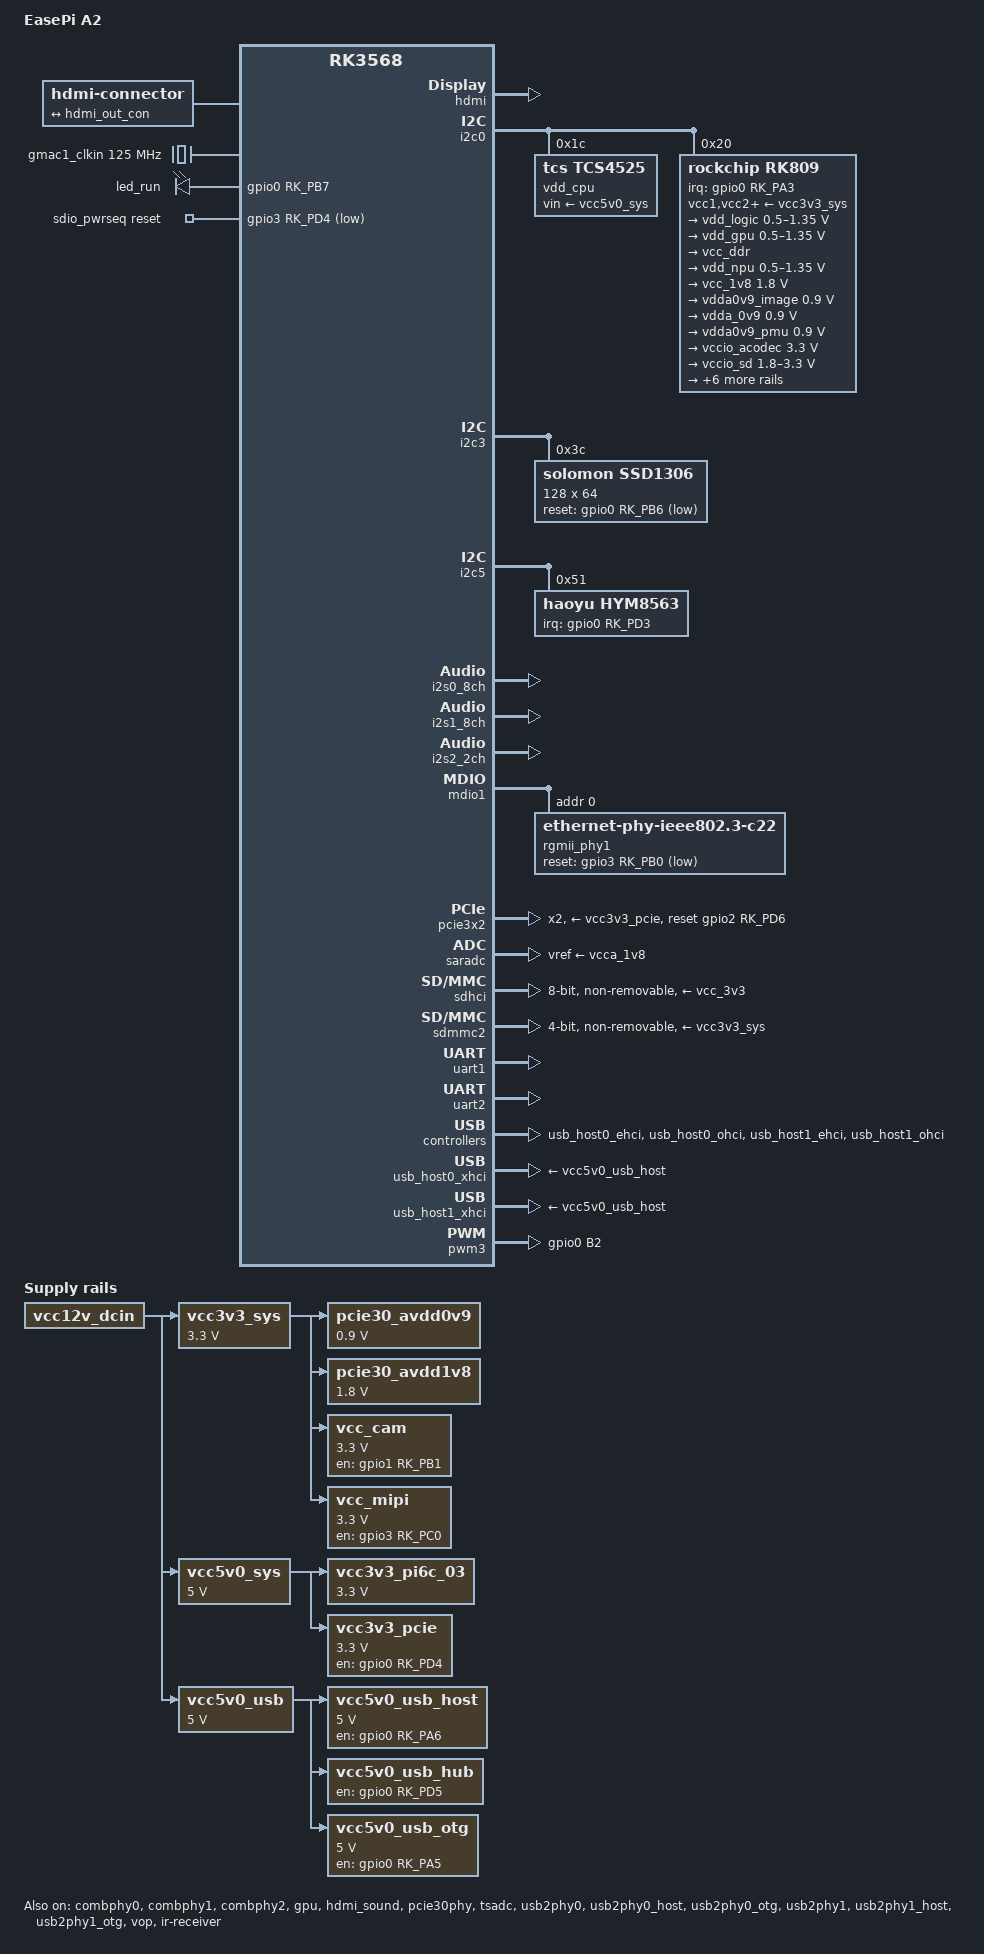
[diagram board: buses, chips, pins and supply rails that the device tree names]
// SPDX-License-Identifier: (GPL-2.0+ OR MIT)
/dts-v1/;
#include <dt-bindings/gpio/gpio.h>
#include <dt-bindings/leds/common.h>
#include <dt-bindings/pinctrl/rockchip.h>
#include <dt-bindings/soc/rockchip,vop2.h>
#include <dt-bindings/input/input.h>
#include <dt-bindings/pwm/pwm.h>
#include "rk3568.dtsi"

/ {
	model = "EasePi A2";
	compatible = "easepi,a2", "rockchip,rk3568";

	aliases {
		ethernet0 = &gmac1;
		mmc0 = &sdhci;
		mmc1 = &sdmmc0;
		mmc2 = &sdmmc2;
	};

	chosen: chosen {
		stdout-path = "serial2:1500000n8";
	};

	hdmi-con {
		compatible = "hdmi-connector";
		type = "a";
		port {
			hdmi_con_in: endpoint {
				remote-endpoint = <&hdmi_out_con>;
			};
		};
	};

	gmac1_clkin: external-gmac1-clock {
		compatible = "fixed-clock";
		clock-frequency = <125000000>;
		clock-output-names = "gmac1_clkin";
		#clock-cells = <0>;
	};

	leds {
		compatible = "gpio-leds";
		led_run: led-0 {
		gpios = <&gpio0 RK_PB7 GPIO_ACTIVE_HIGH>;
		function = "heartbeat";
		color = <1>;
		linux,default-trigger = "heartbeat";
		pinctrl-names = "default";
		pinctrl-0 = <&led_run_en>;
	};
	};

	/* IR receiver: GPIO0_18, NEC protocol, PWM3 */
	ir-receiver {
		compatible = "rockchip,remotectl-pwm";
		reg = <0x00 0xfdd70030 0x00 0x10>;
		interrupts = <0x00 0x52 0x04>, <0x00 0x56 0x04>;
		clocks = <&cru>, <&cru>;
		clock-names = "pwm", "pclk";
		pinctrl-0 = <&ir_receiver_pin>;
		pinctrl-names = "default";
		remote_pwm_id = <0x03>;
		handle_cpu_id = <0x01>;
		remote_support_psci = <0x00>;
		status = "okay";

		/* Remote group 1 (usercode: 0xff00) */
		ir_key1 {
			rockchip,usercode = <0xff00>;
			rockchip,key_table = <0xf9 0x66 0xbf 0x9e 0xfb 0x8b 0xaa 0x1c 0xb9 0x67 0xe9 0x6c 0xb8 0x69 0xea 0x6a 0xeb 0x72 0xef 0x73 0xf7 0x71 0xe7 0x74 0xfc 0x74 0xa9 0x72 0xa8 0xa4 0xe0 0x72 0xa5 0x72 0xab 0xb7 0xb7 0x184 0xe8 0x184 0xf8 0xb8 0xaf 0xb9 0xed 0x72 0xee 0xba 0xb3 0x72 0xf1 0x72 0xf2 0x72 0xf3 0xd9 0xb4 0x72 0xa4 0x8d 0xbe 0xd9>;
		};

		/* Remote group 2 (usercode: 0xc43b) */
		ir_key2 {
			rockchip,usercode = <0xc43b>;
			rockchip,key_table = <0x7e 0x1c 0x7f 0x9e 0x7a 0x67 0x78 0x6c 0x7b 0x69 0x79 0x6a 0x66 0x73 0x65 0x72 0x69 0x74 0x64 0x71 0x76 0x02 0x75 0x03 0x74 0x04 0x73 0x05 0x72 0x06 0x71 0x07 0x70 0x08 0x6f 0x09 0x6e 0x0a 0x77 0x0b 0x7c 0x6d 0x7d 0x68 0x6a 0x8d 0x68 0xf9 0x67 0xfa 0x39 0x10f 0x29 0xfb 0x33 0xfc 0x34 0x104 0x2d 0xfe 0x2c 0xff 0x2b 0x100 0x2e 0xfd 0x2d 0xfe 0x2c 0xff 0x2b 0x100 0x63 0x101 0x6c 0x102 0x6d 0x103 0x62 0xa4 0x6b 0x0d 0x61 0xd0 0x60 0xa8 0x3b 0x80 0x35 0x191 0x36 0x190 0x37 0x18f 0x38 0x18e>;
		};

		/* Remote group 3 (usercode: 0x1dcc) */
		ir_key3 {
			rockchip,usercode = <0x1dcc>;
			rockchip,key_table = <0xee 0x1c 0xf0 0x9e 0xf8 0x67 0xbb 0x6c 0xef 0x69 0xed 0x6a 0xfc 0x66 0xf1 0x73 0xfd 0x72 0xb7 0xd9 0xff 0x74 0xf3 0x71 0xbf 0x8b 0xf9 0x191 0xf5 0x192 0xb3 0x184 0xbe 0x02 0xba 0x03 0xb2 0x04 0xbd 0x05 0xf9 0x06 0xb1 0x07 0xfc 0x08 0xf8 0x09 0xb0 0x0a 0xb6 0x0b 0xb5 0x0e>;
		};

		/* Remote group 4 (usercode: 0x4db2) */
		ir_key4 {
			rockchip,usercode = <0x4db2>;
			rockchip,key_table = <0x31 0x1c 0x3a 0x9e 0x35 0x67 0x2d 0x6c 0x66 0x69 0x3e 0x6a 0x7f 0x73 0xfe 0x72 0x23 0x74 0x63 0x71 0x6d 0x02 0x6c 0x03 0x33 0x04 0x71 0x05 0x70 0x06 0x37 0x07 0x75 0x08 0x74 0x09 0x3b 0x0a 0x78 0x0b 0x73 0x6d 0x22 0x68 0x72 0x8d 0x7a 0xf9 0x79 0xfa 0x77 0xfb 0x29 0xfc 0x32 0xfd 0x6e 0xfe 0x7c 0xff 0x3c 0x100 0x67 0x101 0x25 0x102 0x2f 0x103 0x7d 0x104 0x6a 0xa4 0x0b 0x0d>;
		};

		/* Remote group 5 (usercode: 0x1608) */
		ir_key5 {
			rockchip,usercode = <0x1608>;
			rockchip,key_table = <0x4c 0x1c 0x4d 0x9e 0x4b 0x67 0x4a 0x6c 0x49 0x69 0x48 0x6a 0x4e 0x66 0x0b 0x73 0x0c 0x72 0x23 0x74 0x45 0x71 0x44 0x8b 0x78 0x02 0x77 0x03 0x76 0x04 0x75 0x05 0x74 0x06 0x73 0x07 0x72 0x08 0x71 0x09 0x70 0x0a 0x79 0x0b 0x43 0x0d 0x72 0x102 0x5f 0x8d 0x25 0xfd 0x24 0xfe 0x21 0xff 0x20 0x100>;
		};

		/* Remote group 6 (usercode: 0xfe01) */
		ir_key6 {
			rockchip,usercode = <0xfe01>;
			rockchip,key_table = <0xec 0x1c 0xe6 0x9e 0xe9 0x67 0xe5 0x6c 0xae 0x69 0xaf 0x6a 0xee 0x66 0xe7 0x73 0xef 0x72 0xbf 0x74 0xbe 0x71 0xb3 0x8b 0xff 0x184 0xb1 0x02 0xf2 0x03 0xf3 0x04 0xb5 0x05 0xf6 0x06 0xf7 0x07 0xb9 0x08 0xfa 0x09 0xfb 0x0a 0xfe 0x0b 0xbd 0x0d 0xbc 0x8d 0xf0 0x104 0x0d 0xfd 0x0c 0xfe 0x0b 0xff 0x0a 0x100 0x0e 0xfc>;
		};

		/* Remote group 7 (usercode: 0x4cb3) */
		ir_key7 {
			rockchip,usercode = <0x4cb3>;
			rockchip,key_table = <0x31 0x1c 0x3a 0x9e 0x35 0x67 0x2d 0x6c 0x66 0x69 0x3e 0x6a 0x7f 0x73 0x7e 0x72 0x23 0x74 0x63 0x71 0x6d 0x02 0x6c 0x03 0x33 0x04 0x71 0x05 0x70 0x06 0x37 0x07 0x75 0x08 0x74 0x09 0x3b 0x0a 0x78 0x0b 0x73 0x6d 0x22 0x68 0x72 0x8d 0x7a 0xf9 0x79 0xfa 0x77 0xfb 0x29 0xfc 0x32 0xfd 0x6e 0xfe 0x7c 0xff 0x3c 0x100 0x67 0x101 0x25 0x102 0x2f 0x103 0x7d 0x104 0x6a 0xa4 0x0b 0x0d>;
		};

		/* Remote group 8 (usercode: 0xdd22) */
		ir_key8 {
			rockchip,usercode = <0xdd22>;
			rockchip,key_table = <0x31 0x1c 0x6a 0x9e 0x35 0x67 0x2d 0x6c 0x66 0x69 0x3e 0x6a 0x7f 0x73 0x7e 0x72 0x23 0x74 0x63 0x71 0x6d 0x02 0x6c 0x03 0x33 0x04 0x71 0x05 0x70 0x06 0x37 0x07 0x75 0x08 0x74 0x09 0x3b 0x0a 0x78 0x0b 0x73 0x6d 0x22 0x68 0x72 0x8d 0x7a 0xf9 0x79 0xfa 0x77 0xfb 0x2f 0xfc 0x32 0xfd 0x6e 0xfe 0x7c 0xff 0x3c 0x100 0x3a 0x8a 0x67 0x101 0x25 0x103 0x7d 0x8b 0x3f 0x0d 0x29 0x184 0x26 0xa4 0x76 0x191 0x7b 0x190 0x69 0x42>;
		};

		/* Remote group 9 (usercode: 0x3bc4) */
		ir_key9 {
			rockchip,usercode = <0x3bc4>;
			rockchip,key_table = <0x81 0x1c 0x80 0x9e 0x85 0x67 0x87 0x6c 0x84 0x69 0x86 0x6a 0x99 0x73 0x9a 0x72 0x96 0x74 0x9b 0x71 0x89 0x02 0x8a 0x03 0x8b 0x04 0x8c 0x05 0x8d 0x06 0x8e 0x07 0x8f 0x08 0x90 0x09 0x91 0x0a 0x88 0x0b 0x83 0x6d 0x82 0x68 0x95 0x8d 0x97 0xf9 0x98 0xfa 0xc6 0x104 0xd6 0xfb 0xd7 0x10e 0xcc 0xfc 0xc3 0x108 0xd1 0xfd 0xd2 0xfe 0xd3 0xff 0xd4 0x100 0xc7 0xfd 0xc8 0xfe 0xc9 0xff 0xca 0x100 0xcd 0x109 0xce 0x10a 0xcf 0x8a 0xd0 0x10b 0x9c 0x101 0x93 0x102 0x92 0x103 0xc0 0x6b 0xc1 0x107 0x9d 0xa4 0xc4 0x80 0x94 0x0d 0x9e 0x190 0x9f 0x191 0xcb 0x105 0xc5 0x106>;
		};
	};

	/* GPIO-controlled fan interface */
	fan: fan {
		status = "disabled";
	};

	rk809-sound {
		compatible = "simple-audio-card";
		simple-audio-card,format = "i2s";
		simple-audio-card,name = "Analog RK809";
		simple-audio-card,mclk-fs = <256>;
		simple-audio-card,cpu {
			sound-dai = <&i2s1_8ch>;
		};
		simple-audio-card,codec {
			sound-dai = <&rk809>;
		};
	};

	sdio_pwrseq: sdio-pwrseq {
		compatible = "mmc-pwrseq-simple";
		clocks = <&rk809 1>;
		clock-names = "ext_clock";
		pinctrl-names = "default";
		pinctrl-0 = <&wifi_enable>;
		post-power-on-delay-ms = <100>;
		power-off-delay-us = <5000000>;
		reset-gpios = <&gpio3 RK_PD4 GPIO_ACTIVE_LOW>;
	};

	/* Power regulators configuration */
	vcc12v_dcin: regulator-vcc12v-dcin {
		compatible = "regulator-fixed";
		regulator-name = "vcc12v_dcin";
		regulator-always-on;
		regulator-boot-on;
	};

	pcie30_avdd0v9: regulator-pcie30-avdd0v9 {
		compatible = "regulator-fixed";
		regulator-name = "pcie30_avdd0v9";
		regulator-always-on;
		regulator-boot-on;
		regulator-min-microvolt = <900000>;
		regulator-max-microvolt = <900000>;
		vin-supply = <&vcc3v3_sys>;
	};

	pcie30_avdd1v8: regulator-pcie30-avdd1v8 {
		compatible = "regulator-fixed";
		regulator-name = "pcie30_avdd1v8";
		regulator-always-on;
		regulator-boot-on;
		regulator-min-microvolt = <1800000>;
		regulator-max-microvolt = <1800000>;
		vin-supply = <&vcc3v3_sys>;
	};

	vcc3v3_pi6c_03: regulator-vcc3v3-pi6c-03 {
		compatible = "regulator-fixed";
		regulator-name = "vcc3v3_pi6c_03";
		regulator-always-on;
		regulator-boot-on;
		regulator-min-microvolt = <3300000>;
		regulator-max-microvolt = <3300000>;
		vin-supply = <&vcc5v0_sys>;
	};

	vcc3v3_pcie: regulator-vcc3v3-pcie {
		compatible = "regulator-fixed";
		enable-active-high;
		gpios = <&gpio0 RK_PD4 GPIO_ACTIVE_HIGH>;
		pinctrl-names = "default";
		pinctrl-0 = <&pcie_enable_h>;
		regulator-name = "vcc3v3_pcie";
		regulator-min-microvolt = <3300000>;
		regulator-max-microvolt = <3300000>;
		vin-supply = <&vcc5v0_sys>;
	};

	vcc3v3_sys: regulator-vcc3v3-sys {
		compatible = "regulator-fixed";
		regulator-name = "vcc3v3_sys";
		regulator-always-on;
		regulator-boot-on;
		regulator-min-microvolt = <3300000>;
		regulator-max-microvolt = <3300000>;
		vin-supply = <&vcc12v_dcin>;
	};

	vcc5v0_sys: regulator-vcc5v0-sys {
		compatible = "regulator-fixed";
		regulator-name = "vcc5v0_sys";
		regulator-always-on;
		regulator-boot-on;
		regulator-min-microvolt = <5000000>;
		regulator-max-microvolt = <5000000>;
		vin-supply = <&vcc12v_dcin>;
	};

	vcc5v0_usb: regulator-vcc5v0-usb {
		compatible = "regulator-fixed";
		regulator-name = "vcc5v0_usb";
		regulator-always-on;
		regulator-boot-on;
		regulator-min-microvolt = <5000000>;
		regulator-max-microvolt = <5000000>;
		vin-supply = <&vcc12v_dcin>;
	};

	vcc5v0_usb_host: regulator-vcc5v0-usb-host {
		compatible = "regulator-fixed";
		enable-active-high;
		gpio = <&gpio0 RK_PA6 GPIO_ACTIVE_HIGH>;
		pinctrl-names = "default";
		pinctrl-0 = <&vcc5v0_usb_host_en>;
		regulator-name = "vcc5v0_usb_host";
		regulator-min-microvolt = <5000000>;
		regulator-max-microvolt = <5000000>;
		vin-supply = <&vcc5v0_usb>;
	};

	vcc5v0_usb_hub: regulator-vcc5v0-usb-hub {
		compatible = "regulator-fixed";
		enable-active-high;
		gpio = <&gpio0 RK_PD5 GPIO_ACTIVE_HIGH>;
		pinctrl-names = "default";
		pinctrl-0 = <&vcc5v0_usb_hub_en>;
		regulator-name = "vcc5v0_usb_hub";
		regulator-always-on;
		vin-supply = <&vcc5v0_usb>;
	};

	vcc5v0_usb_otg: regulator-vcc5v0-usb-otg {
		compatible = "regulator-fixed";
		enable-active-high;
		gpio = <&gpio0 RK_PA5 GPIO_ACTIVE_HIGH>;
		pinctrl-names = "default";
		pinctrl-0 = <&vcc5v0_usb_otg_en>;
		regulator-name = "vcc5v0_usb_otg";
		regulator-min-microvolt = <5000000>;
		regulator-max-microvolt = <5000000>;
		vin-supply = <&vcc5v0_usb>;
	};

	vcc_cam: regulator-vcc-cam {
		compatible = "regulator-fixed";
		enable-active-high;
		gpio = <&gpio1 RK_PB1 GPIO_ACTIVE_HIGH>;
		pinctrl-names = "default";
		pinctrl-0 = <&vcc_cam_en>;
		regulator-name = "vcc_cam";
		regulator-min-microvolt = <3300000>;
		regulator-max-microvolt = <3300000>;
		vin-supply = <&vcc3v3_sys>;
		regulator-state-mem {
			regulator-off-in-suspend;
		};
	};

	vcc_mipi: regulator-vcc-mipi {
		compatible = "regulator-fixed";
		enable-active-high;
		gpio = <&gpio3 RK_PC0 GPIO_ACTIVE_HIGH>;
		pinctrl-names = "default";
		pinctrl-0 = <&vcc_mipi_en>;
		regulator-name = "vcc_mipi";
		regulator-min-microvolt = <3300000>;
		regulator-max-microvolt = <3300000>;
		vin-supply = <&vcc3v3_sys>;
		regulator-state-mem {
			regulator-off-in-suspend;
		};
	};
};

&combphy0 {
	status = "okay";
};

&combphy1 {
	status = "okay";
};

&combphy2 {
	status = "okay";
};

&cpu0 {
	cpu-supply = <&vdd_cpu>;
};

&cpu1 {
	cpu-supply = <&vdd_cpu>;
};

&cpu2 {
	cpu-supply = <&vdd_cpu>;
};

&cpu3 {
	cpu-supply = <&vdd_cpu>;
};

&gmac1 {
	assigned-clocks = <&cru SCLK_GMAC1_RX_TX>, <&cru SCLK_GMAC1>;
	assigned-clock-parents = <&cru SCLK_GMAC1_RGMII_SPEED>, <&gmac1_clkin>;
	clock_in_out = "input";
	phy-handle = <&rgmii_phy1>;
	phy-mode = "rgmii-id";
	phy-supply = <&vcc_3v3>;
	pinctrl-names = "default";
	pinctrl-0 = <&gmac1m1_miim
		     &gmac1m1_tx_bus2
		     &gmac1m1_rx_bus2
		     &gmac1m1_rgmii_clk
		     &gmac1m1_clkinout
		     &gmac1m1_rgmii_bus>;
	status = "disabled";
};

&gpu {
	mali-supply = <&vdd_gpu>;
	status = "okay";
};

&hdmi {
	avdd-0v9-supply = <&vdda0v9_image>;
	avdd-1v8-supply = <&vcca1v8_image>;
	pinctrl-names = "default";
	pinctrl-0 = <&hdmitx_scl &hdmitx_sda &hdmitxm1_cec>;
	rockchip,hdmi-max-clock = <340000000>; // Support 4K@30Hz
	rockchip,hdmi-output-mode = "1080p60";
	rockchip,hdmi-hpd-gpio = <&gpio3 RK_PB7 GPIO_ACTIVE_HIGH>;
	status = "okay";
};

&hdmi_in {
	hdmi_in_vp0: endpoint {
		remote-endpoint = <&vp0_out_hdmi>;
	};
};

&hdmi_out {
	hdmi_out_con: endpoint {
		remote-endpoint = <&hdmi_con_in>;
	};
};

&hdmi_sound {
	status = "okay";
};

&i2c0 {
	status = "okay";

	vdd_cpu: regulator@1c {
		compatible = "tcs,tcs4525";
		reg = <0x1c>;
		tcs,suspend-voltage-selector = <1>;
		regulator-name = "vdd_cpu";
		regulator-always-on;
		regulator-boot-on;
		regulator-min-microvolt = <800000>;
		regulator-max-microvolt = <1150000>;
		regulator-ramp-delay = <2300>;
		vin-supply = <&vcc5v0_sys>;
		regulator-state-mem {
			regulator-off-in-suspend;
		};
	};

	rk809: pmic@20 {
		compatible = "rockchip,rk809";
		reg = <0x20>;
		interrupt-parent = <&gpio0>;
		interrupts = <RK_PA3 IRQ_TYPE_LEVEL_LOW>;
		assigned-clocks = <&cru I2S1_MCLKOUT_TX>;
		assigned-clock-parents = <&cru CLK_I2S1_8CH_TX>;
		#clock-cells = <1>;
		clock-names = "mclk";
		clocks = <&cru I2S1_MCLKOUT_TX>;
		pinctrl-names = "default";
		pinctrl-0 = <&pmic_int>, <&i2s1m0_mclk>;
		system-power-controller;
		#sound-dai-cells = <0>;
		vcc1-supply = <&vcc3v3_sys>;
		vcc2-supply = <&vcc3v3_sys>;
		vcc3-supply = <&vcc3v3_sys>;
		vcc4-supply = <&vcc3v3_sys>;
		vcc5-supply = <&vcc3v3_sys>;
		vcc6-supply = <&vcc3v3_sys>;
		vcc7-supply = <&vcc3v3_sys>;
		vcc8-supply = <&vcc3v3_sys>;
		vcc9-supply = <&vcc3v3_sys>;
		wakeup-source;

		regulators {
			vdd_logic: DCDC_REG1 {
				regulator-name = "vdd_logic";
				regulator-always-on;
				regulator-boot-on;
				regulator-initial-mode = <0x2>;
				regulator-min-microvolt = <500000>;
				regulator-max-microvolt = <1350000>;
				regulator-ramp-delay = <6001>;
				regulator-state-mem {
					regulator-off-in-suspend;
				};
			};

			vdd_gpu: DCDC_REG2 {
				regulator-name = "vdd_gpu";
				regulator-always-on;
				regulator-initial-mode = <0x2>;
				regulator-min-microvolt = <500000>;
				regulator-max-microvolt = <1350000>;
				regulator-ramp-delay = <6001>;
				regulator-state-mem {
					regulator-off-in-suspend;
				};
			};

			vcc_ddr: DCDC_REG3 {
				regulator-name = "vcc_ddr";
				regulator-always-on;
				regulator-boot-on;
				regulator-initial-mode = <0x2>;
				regulator-state-mem {
					regulator-on-in-suspend;
				};
			};

			vdd_npu: DCDC_REG4 {
				regulator-name = "vdd_npu";
				regulator-initial-mode = <0x2>;
				regulator-min-microvolt = <500000>;
				regulator-max-microvolt = <1350000>;
				regulator-ramp-delay = <6001>;
				regulator-state-mem {
					regulator-off-in-suspend;
				};
			};

			vcc_1v8: DCDC_REG5 {
				regulator-name = "vcc_1v8";
				regulator-always-on;
				regulator-boot-on;
				regulator-min-microvolt = <1800000>;
				regulator-max-microvolt = <1800000>;
				regulator-state-mem {
					regulator-off-in-suspend;
				};
			};

			vdda0v9_image: LDO_REG1 {
				regulator-name = "vdda0v9_image";
				regulator-min-microvolt = <900000>;
				regulator-max-microvolt = <900000>;
				regulator-state-mem {
					regulator-off-in-suspend;
				};
			};

			vdda_0v9: LDO_REG2 {
				regulator-name = "vdda_0v9";
				regulator-always-on;
				regulator-boot-on;
				regulator-min-microvolt = <900000>;
				regulator-max-microvolt = <900000>;
				regulator-state-mem {
					regulator-off-in-suspend;
				};
			};

			vdda0v9_pmu: LDO_REG3 {
				regulator-name = "vdda0v9_pmu";
				regulator-always-on;
				regulator-boot-on;
				regulator-min-microvolt = <900000>;
				regulator-max-microvolt = <900000>;
				regulator-state-mem {
					regulator-on-in-suspend;
					regulator-suspend-microvolt = <900000>;
				};
			};

			vccio_acodec: LDO_REG4 {
				regulator-name = "vccio_acodec";
				regulator-always-on;
				regulator-min-microvolt = <3300000>;
				regulator-max-microvolt = <3300000>;
				regulator-state-mem {
					regulator-off-in-suspend;
				};
			};

			vccio_sd: LDO_REG5 {
				regulator-name = "vccio_sd";
				regulator-min-microvolt = <1800000>;
				regulator-max-microvolt = <3300000>;
				regulator-state-mem {
					regulator-off-in-suspend;
				};
			};

			vcc3v3_pmu: LDO_REG6 {
				regulator-name = "vcc3v3_pmu";
				regulator-always-on;
				regulator-boot-on;
				regulator-min-microvolt = <3300000>;
				regulator-max-microvolt = <3300000>;
				regulator-state-mem {
					regulator-on-in-suspend;
					regulator-suspend-microvolt = <3300000>;
				};
			};

			vcca_1v8: LDO_REG7 {
				regulator-name = "vcca_1v8";
				regulator-always-on;
				regulator-boot-on;
				regulator-min-microvolt = <1800000>;
				regulator-max-microvolt = <1800000>;
				regulator-state-mem {
					regulator-off-in-suspend;
				};
			};

			vcca1v8_pmu: LDO_REG8 {
				regulator-name = "vcca1v8_pmu";
				regulator-always-on;
				regulator-boot-on;
				regulator-min-microvolt = <1800000>;
				regulator-max-microvolt = <1800000>;
				regulator-state-mem {
					regulator-on-in-suspend;
					regulator-suspend-microvolt = <1800000>;
				};
			};

			vcca1v8_image: LDO_REG9 {
				regulator-name = "vcca1v8_image";
				regulator-min-microvolt = <1800000>;
				regulator-max-microvolt = <1800000>;
				regulator-state-mem {
					regulator-off-in-suspend;
				};
			};

			vcc_3v3: SWITCH_REG1 {
				regulator-name = "vcc_3v3";
				regulator-always-on;
				regulator-boot-on;
				regulator-state-mem {
					regulator-off-in-suspend;
				};
			};

			vcc3v3_sd: SWITCH_REG2 {
				regulator-name = "vcc3v3_sd";
				regulator-state-mem {
					regulator-off-in-suspend;
				};
			};
		};
	};
};

&i2c3 {
	pinctrl-names = "default";
	pinctrl-0 = <&i2c3m1_xfer>;
	status = "okay";

	/* OLED display on I2C3 bus */
	ssd1306: oled@3c {
		compatible = "solomon,ssd1306";
		reg = <0x3c>;
		reset-gpios = <&gpio0 RK_PB6 GPIO_ACTIVE_LOW>;
		width = <128>;
		height = <64>;
		segment-offset = <0>;
		page-offset = <0>;
		display-offset = <0>;
		multiplex-ratio = <63>;
		prechargep = <241>;
		com-invdir;
		contrast = <255>;
		precharge = <15>;
		vcomh = <0x20>;
		colstart = <0>;
		display-on-delay = <0>;
		pinctrl-names = "default";
		pinctrl-0 = <&oled_rst>;
		status = "okay";
	};
};

&i2c4 {
	pinctrl-names = "default";
	pinctrl-0 = <&i2c4m1_xfer>;
	status = "disabled";
};

&i2c5 {
	status = "okay";

	hym8563: rtc@51 {
		compatible = "haoyu,hym8563";
		reg = <0x51>;
		interrupt-parent = <&gpio0>;
		interrupts = <RK_PD3 IRQ_TYPE_LEVEL_LOW>;
		#clock-cells = <0>;
		clock-output-names = "rtcic_32kout";
		pinctrl-names = "default";
		pinctrl-0 = <&hym8563_int>;
		wakeup-source;
	};
};

&i2s0_8ch {
	status = "okay";
};

&i2s1_8ch {
	pinctrl-names = "default";
	pinctrl-0 = <&i2s1m0_sclktx &i2s1m0_lrcktx &i2s1m0_sdi0 &i2s1m0_sdo0>;
	rockchip,trcm-sync-tx-only;
	status = "okay";
};

&i2s2_2ch {
	rockchip,trcm-sync-tx-only;
	status = "okay";
};

&mdio1 {
	rgmii_phy1: ethernet-phy@0 {
		compatible = "ethernet-phy-ieee802.3-c22";
		reg = <0x0>;
		pinctrl-names = "default";
		pinctrl-0 = <&eth_phy_rst>;
		reset-assert-us = <20000>;
		reset-deassert-us = <100000>;
		reset-gpios = <&gpio3 RK_PB0 GPIO_ACTIVE_LOW>;
	};
};

&pcie2x1 {
	status = "disabled";
};

&pcie30phy {
	phy-supply = <&vcc3v3_pi6c_03>;
	status = "okay";
};

&pcie3x2 {
	pinctrl-names = "default";
	pinctrl-0 = <&pcie30x2m1_pins>;
	reset-gpios = <&gpio2 RK_PD6 GPIO_ACTIVE_HIGH>;
	vpcie3v3-supply = <&vcc3v3_pcie>;
	max-link-speed = <3>; // PCIe 3.0
	num-lanes = <2>; // 2 lanes
	status = "okay";
};

&pinctrl {
	cam {
		vcc_cam_en: vcc_cam_en {
			rockchip,pins = <1 RK_PB1 RK_FUNC_GPIO &pcfg_pull_none>;
		};
	};

	display {
		vcc_mipi_en: vcc_mipi_en {
			rockchip,pins = <3 RK_PC0 RK_FUNC_GPIO &pcfg_pull_none>;
		};
	};

	ethernet {
		eth_phy_rst: eth_phy_rst {
			rockchip,pins = <3 RK_PB0 RK_FUNC_GPIO &pcfg_pull_none>;
		};
	};

	hym8563 {
		hym8563_int: hym8563-int {
			rockchip,pins = <0 RK_PD3 RK_FUNC_GPIO &pcfg_pull_up>;
		};
	};

	leds {
		led_run_en: led-run-en {
			rockchip,pins = <0 RK_PB7 RK_FUNC_GPIO &pcfg_pull_none>;
		};
	};

	/* OLED reset pin configuration */
	oled {
		oled_rst: oled-rst {
			rockchip,pins = <0 RK_PB6 RK_FUNC_GPIO &pcfg_pull_none>;
		};
	};

	/* IR receiver pin: GPIO0_18 */
	ir {
		ir_receiver_pin: ir-receiver-pin {
			rockchip,pins = <0 RK_PB2 RK_FUNC_1 &pcfg_pull_none>;
		};
	};

	pcie {
		pcie_enable_h: pcie-enable-h {
			rockchip,pins = <0 RK_PD4 RK_FUNC_GPIO &pcfg_pull_none>;
		};
		pcie_reset_h: pcie-reset-h {
			rockchip,pins = <3 RK_PC1 RK_FUNC_GPIO &pcfg_pull_none>;
		};
	};

	pmic {
		pmic_int: pmic_int {
			rockchip,pins = <0 RK_PA3 RK_FUNC_GPIO &pcfg_pull_up>; // Fix: value inline with assignment operator
		};
	};

	usb {
		vcc5v0_usb_host_en: vcc5v0_usb_host_en {
			rockchip,pins = <0 RK_PA6 RK_FUNC_GPIO &pcfg_pull_none>;
		};
		vcc5v0_usb_hub_en: vcc5v0_usb_hub_en {
			rockchip,pins = <0 RK_PD5 RK_FUNC_GPIO &pcfg_pull_none>;
		};
		vcc5v0_usb_otg_en: vcc5v0_usb_otg_en {
			rockchip,pins = <0 RK_PA5 RK_FUNC_GPIO &pcfg_pull_none>;
		};
	};

	bt {
		bt_enable: bt-enable {
			rockchip,pins = <4 RK_PB2 RK_FUNC_GPIO &pcfg_pull_none>;
		};
		bt_host_wake: bt-host-wake {
			rockchip,pins = <4 RK_PB4 RK_FUNC_GPIO &pcfg_pull_down>;
		};
		bt_wake: bt-wake {
			rockchip,pins = <4 RK_PB5 RK_FUNC_GPIO &pcfg_pull_none>;
		};
	};

	sdio-pwrseq {
		wifi_enable: wifi-enable {
			rockchip,pins = <3 RK_PD4 RK_FUNC_GPIO &pcfg_pull_none>;
		};
	};

	/* PWM3 pin configuration (IR dependency) */
	pwm {
		pwm3m1_pins: pwm3m1-pins {
			rockchip,pins = <0 RK_PB2 RK_FUNC_1 &pcfg_pull_none>;
		};
	};
};

&pmu_io_domains {
	pmuio1-supply = <&vcc3v3_pmu>;
	pmuio2-supply = <&vcc3v3_pmu>;
	vccio1-supply = <&vccio_acodec>;
	vccio2-supply = <&vcc_1v8>;
	vccio3-supply = <&vccio_sd>;
	vccio4-supply = <&vcc_1v8>;
	vccio5-supply = <&vcc_3v3>;
	vccio6-supply = <&vcc_1v8>;
	vccio7-supply = <&vcc_3v3>;
	status = "okay";
};

&saradc {
	vref-supply = <&vcca_1v8>;
	status = "okay";
};

&sdhci {
	bus-width = <8>;
	max-frequency = <200000000>;
	non-removable;
	pinctrl-names = "default";
	pinctrl-0 = <&emmc_bus8 &emmc_clk &emmc_cmd &emmc_datastrobe>;
	vmmc-supply = <&vcc_3v3>;
	vqmmc-supply = <&vcc_1v8>;
	status = "okay";
};

&sdmmc0 {
	bus-width = <4>;
	cap-sd-highspeed;
	cd-gpios = <&gpio0 RK_PA4 GPIO_ACTIVE_LOW>;
	disable-wp;
	pinctrl-names = "default";
	pinctrl-0 = <&sdmmc0_bus4 &sdmmc0_clk &sdmmc0_cmd &sdmmc0_det>;
	sd-uhs-sdr50;
	vmmc-supply = <&vcc3v3_sd>;
	vqmmc-supply = <&vccio_sd>;
	status = "disabled";
};

&sdmmc2 {
	bus-width = <4>;
	disable-wp;
	cap-sd-highspeed;
	cap-sdio-irq;
	keep-power-in-suspend;
	mmc-pwrseq = <&sdio_pwrseq>;
	non-removable;
	pinctrl-names = "default";
	pinctrl-0 = <&sdmmc2m0_bus4 &sdmmc2m0_cmd &sdmmc2m0_clk>;
	sd-uhs-sdr12;
	sd-uhs-sdr25;
	sd-uhs-sdr50;
	sd-uhs-sdr104;
	vmmc-supply = <&vcc3v3_sys>;
	vqmmc-supply = <&vcc_1v8>;
	status = "okay";
};

&sfc {
	#address-cells = <1>;
	#size-cells = <0>;
	status = "disabled";

	flash@0 {
		compatible = "jedec,spi-nor";
		reg = <0x0>;
		spi-max-frequency = <104000000>;
		spi-rx-bus-width = <4>;
		spi-tx-bus-width = <1>;
	};
};

&tsadc {
	rockchip,hw-tshut-mode = <1>;
	rockchip,hw-tshut-polarity = <0>;
	status = "okay";
};

&uart1 {
	pinctrl-names = "default";
	pinctrl-0 = <&uart1m0_xfer &uart1m0_ctsn &uart1m0_rtsn>;
	uart-has-rtscts;
	status = "okay";
};

&uart2 {
	status = "okay";
};

&usb_host0_ehci {
	status = "okay";
};

&usb_host0_ohci {
	status = "okay";
};

&usb_host0_xhci {
	extcon = <&usb2phy0>;
	vbus-supply = <&vcc5v0_usb_host>;
	status = "okay";
};

&usb_host1_ehci {
	status = "okay";
};

&usb_host1_ohci {
	status = "okay";
};

&usb_host1_xhci {
	vbus-supply = <&vcc5v0_usb_host>;
	status = "okay";
};

&usb2phy0 {
	status = "okay";
};

&usb2phy0_host {
	phy-supply = <&vcc5v0_usb_host>;
	status = "okay";
};

&usb2phy0_otg {
	phy-supply = <&vcc5v0_usb_otg>;
	status = "okay";
};

&usb2phy1 {
	status = "okay";
};

&usb2phy1_host {
	phy-supply = <&vcc5v0_usb_host>;
	status = "okay";
};

&usb2phy1_otg {
	phy-supply = <&vcc5v0_usb_host>;
	status = "okay";
};

&vop {
	assigned-clocks = <&cru DCLK_VOP0>, <&cru DCLK_VOP1>;
	assigned-clock-parents = <&pmucru PLL_HPLL>, <&cru PLL_VPLL>;
	status = "okay";
};

&vop_mmu {
	status = "okay";
};

&vp0 {
	vp0_out_hdmi: endpoint@0 { // Fix: replaced macro with numeric value 0
		reg = <0>;
		remote-endpoint = <&hdmi_in_vp0>;
		rockchip,output-mode = "rgb888";
		rockchip,output-width = <1920>;
		rockchip,output-height = <1080>;
	};
};

/* PWM3 enabled (IR receiver dependency) */
&pwm3 {
	status = "okay";
	pinctrl-names = "default";
	pinctrl-0 = <&pwm3m1_pins>;
	#pwm-cells = <3>; // Add pwm-cells property for child node usage
};
